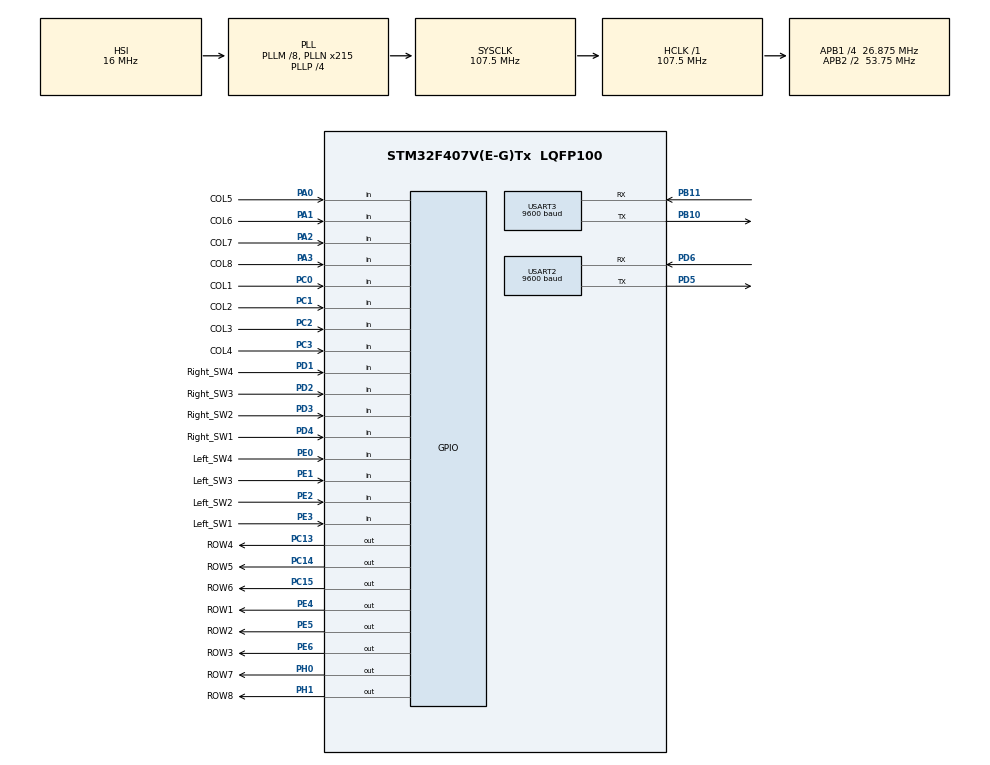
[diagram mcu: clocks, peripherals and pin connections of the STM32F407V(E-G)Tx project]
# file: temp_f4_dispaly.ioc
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Mcu.Family=STM32F4
Mcu.Name=STM32F407V(E-G)Tx
Mcu.Package=LQFP100
NVIC.PriorityGroup=NVIC_PRIORITYGROUP_0
NVIC.USART2_IRQn=true\:0\:0\:false\:false\:true\:true\:true\:true
NVIC.USART3_IRQn=true\:0\:0\:false\:false\:true\:true\:true\:true
PA0-WKUP.GPIO_Label=COL5
PA0-WKUP.GPIO_PuPd=GPIO_PULLUP
PA0-WKUP.Signal=GPIO_Input
PA1.GPIO_Label=COL6
PA1.GPIO_PuPd=GPIO_PULLUP
PA1.Signal=GPIO_Input
PA13.Mode=Serial_Wire
PA13.Signal=SYS_JTMS-SWDIO
PA14.Mode=Serial_Wire
PA14.Signal=SYS_JTCK-SWCLK
PA2.GPIO_Label=COL7
PA2.GPIO_PuPd=GPIO_PULLUP
PA2.Signal=GPIO_Input
PA3.GPIO_Label=COL8
PA3.GPIO_PuPd=GPIO_PULLUP
PA3.Signal=GPIO_Input
PB10.Mode=Asynchronous
PB10.Signal=USART3_TX
PB11.Mode=Asynchronous
PB11.Signal=USART3_RX
PC0.GPIO_Label=COL1
PC0.GPIO_PuPd=GPIO_PULLUP
PC0.Signal=GPIO_Input
PC1.GPIO_Label=COL2
PC1.GPIO_PuPd=GPIO_PULLUP
PC1.Signal=GPIO_Input
PC13-ANTI_TAMP.GPIO_Label=ROW4
PC13-ANTI_TAMP.GPIO_ModeDefaultOutputPP=GPIO_MODE_OUTPUT_OD
PC13-ANTI_TAMP.GPIO_PuPd=GPIO_NOPULL
PC13-ANTI_TAMP.PinState=GPIO_PIN_SET
PC13-ANTI_TAMP.Signal=GPIO_Output
PC14-OSC32_IN.GPIO_Label=ROW5
PC14-OSC32_IN.GPIO_ModeDefaultOutputPP=GPIO_MODE_OUTPUT_OD
PC14-OSC32_IN.GPIO_PuPd=GPIO_NOPULL
PC14-OSC32_IN.PinState=GPIO_PIN_SET
PC14-OSC32_IN.Signal=GPIO_Output
PC15-OSC32_OUT.GPIO_Label=ROW6
PC15-OSC32_OUT.GPIO_ModeDefaultOutputPP=GPIO_MODE_OUTPUT_OD
PC15-OSC32_OUT.GPIO_PuPd=GPIO_NOPULL
PC15-OSC32_OUT.PinState=GPIO_PIN_SET
PC15-OSC32_OUT.Signal=GPIO_Output
PC2.GPIO_Label=COL3
PC2.GPIO_PuPd=GPIO_PULLUP
PC2.Signal=GPIO_Input
PC3.GPIO_Label=COL4
PC3.GPIO_PuPd=GPIO_PULLUP
PC3.Signal=GPIO_Input
PD1.GPIO_Label=Right_SW4
PD1.GPIO_PuPd=GPIO_PULLUP
PD1.Signal=GPIO_Input
PD2.GPIO_Label=Right_SW3
PD2.GPIO_PuPd=GPIO_PULLUP
PD2.Signal=GPIO_Input
PD3.GPIO_Label=Right_SW2
PD3.GPIO_PuPd=GPIO_PULLUP
PD3.Signal=GPIO_Input
PD4.GPIO_Label=Right_SW1
PD4.GPIO_PuPd=GPIO_PULLUP
PD4.Signal=GPIO_Input
PD5.Mode=Asynchronous
PD5.Signal=USART2_TX
PD6.Mode=Asynchronous
PD6.Signal=USART2_RX
PE0.GPIO_Label=Left_SW4
PE0.GPIO_PuPd=GPIO_PULLUP
PE0.Signal=GPIO_Input
PE1.GPIO_Label=Left_SW3
PE1.GPIO_PuPd=GPIO_PULLUP
PE1.Signal=GPIO_Input
PE2.GPIO_Label=Left_SW2
PE2.GPIO_PuPd=GPIO_PULLUP
PE2.Signal=GPIO_Input
PE3.GPIO_Label=Left_SW1
PE3.GPIO_PuPd=GPIO_PULLUP
PE3.Signal=GPIO_Input
PE4.GPIO_Label=ROW1
PE4.GPIO_ModeDefaultOutputPP=GPIO_MODE_OUTPUT_OD
PE4.GPIO_PuPd=GPIO_NOPULL
PE4.PinState=GPIO_PIN_SET
PE4.Signal=GPIO_Output
PE5.GPIO_Label=ROW2
PE5.GPIO_ModeDefaultOutputPP=GPIO_MODE_OUTPUT_OD
PE5.GPIO_PuPd=GPIO_NOPULL
PE5.PinState=GPIO_PIN_SET
PE5.Signal=GPIO_Output
PE6.GPIO_Label=ROW3
PE6.GPIO_ModeDefaultOutputPP=GPIO_MODE_OUTPUT_OD
PE6.GPIO_PuPd=GPIO_NOPULL
PE6.PinState=GPIO_PIN_SET
PE6.Signal=GPIO_Output
PH0-OSC_IN.GPIO_Label=ROW7
PH0-OSC_IN.GPIO_ModeDefaultOutputPP=GPIO_MODE_OUTPUT_OD
PH0-OSC_IN.GPIO_PuPd=GPIO_NOPULL
PH0-OSC_IN.PinState=GPIO_PIN_SET
PH0-OSC_IN.Signal=GPIO_Output
PH1-OSC_OUT.GPIO_Label=ROW8
PH1-OSC_OUT.GPIO_ModeDefaultOutputPP=GPIO_MODE_OUTPUT_OD
PH1-OSC_OUT.GPIO_PuPd=GPIO_NOPULL
PH1-OSC_OUT.PinState=GPIO_PIN_SET
PH1-OSC_OUT.Signal=GPIO_Output
ProjectManager.HeapSize=0x200
ProjectManager.StackSize=0x400
ProjectManager.TargetToolchain=STM32CubeIDE
RCC.48MHZClocksFreq_Value=61428571.428571425
RCC.AHBFreq_Value=107500000
RCC.APB1CLKDivider=RCC_HCLK_DIV4
RCC.APB1Freq_Value=26875000
RCC.APB1TimFreq_Value=53750000
RCC.APB2CLKDivider=RCC_HCLK_DIV2
RCC.APB2Freq_Value=53750000
RCC.APB2TimFreq_Value=107500000
RCC.CortexFreq_Value=107500000
RCC.HCLKFreq_Value=107500000
RCC.HSE_VALUE=8000000
RCC.HSI_VALUE=16000000
RCC.LSE_VALUE=32768
RCC.PLLM=8
RCC.PLLN=215
RCC.PLLP=RCC_PLLP_DIV4
RCC.PLLQ=7
RCC.SYSCLKFreq_VALUE=107500000
RCC.SYSCLKSource=RCC_SYSCLKSOURCE_PLLCLK
RCC.VCOOutputFreq_Value=430000000
USART2.BaudRate=9600
USART2.VirtualMode=VM_ASYNC
USART3.BaudRate=9600
USART3.VirtualMode=VM_ASYNC
board=STM32F407G-DISC1

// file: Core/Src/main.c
/* USER CODE BEGIN Header */
/**
  ******************************************************************************
  * @file           : main.c
  * @brief          : Main program body
  ******************************************************************************
  * @attention
  *
  * Copyright (c) 2024 STMicroelectronics.
  * All rights reserved.
  *
  * This software is licensed under terms that can be found in the LICENSE file
  * in the root directory of this software component.
  * If no LICENSE file comes with this software, it is provided AS-IS.
  *
  ******************************************************************************
  */
/* USER CODE END Header */
#include "main.h"

UART_HandleTypeDef huart2;
UART_HandleTypeDef huart3;

SerialStruct BuffUART2;

//uint16_t keyRead;
NavParams NavScreenParams;
extern lcdCmdDisp_id currentScreen;
extern softKey_t softkey;

extern MkeyStatus_t MkeyStatus;
extern keyPad_t keyPad;

uint16_t key;

void SystemClock_Config(void);
static void MX_GPIO_Init(void);
static void MX_USART3_UART_Init(void);
static void MX_USART2_UART_Init(void);

/* USER CODE BEGIN 0 */

void UART_SendString(SerialStruct * BuffUART, const char *str, int NumChar) {

	uint8_t n = 0;

	BuffUART->TXbuflen = NumChar;//= strlen(str);
	while (BuffUART->TXbuflen > (MAXBUFLEN - BuffUART->LoadIndex)) ;

	while (BuffUART->TXbuflen--)
	{
		BuffUART->TXbuffer[BuffUART->LoadIndex++] = str[n++];
	}

	// Start transmission if this is first byte in buffer
	if(BuffUART->TXindex == 0)
	{
		huart2.Instance->DR = BuffUART->TXbuffer[BuffUART->TXindex++];
		__HAL_UART_ENABLE_IT(&huart2, UART_IT_TXE);
	}

    //uint16_t len = strlen(str);
    //for (uint16_t i = 0; i < len; i++) {
    //    uint16_t BuffUART.next_head = (tx_head + 1) % UART_BUFFER_SIZE;
    //    while (next_head == tx_tail); // Wait if buffer is full
    //    tx_buffer[tx_head] = str[i];
    //    tx_head = next_head;
    //}
    //__HAL_UART_ENABLE_IT(&huart1, UART_IT_TXE); // Enable TXE interrupt
}

/* USER CODE END 0 */

int main(void)
{

  /* MCU Configuration--------------------------------------------------------*/

  /* Reset of all peripherals, Initializes the Flash interface and the Systick. */
  HAL_Init();

  /* Configure the system clock */
  SystemClock_Config();

  /* Initialize all configured peripherals */
  MX_GPIO_Init();
  MX_USART3_UART_Init();
  MX_USART2_UART_Init();
  /* USER CODE BEGIN 2 */

  NavScreenParams.Active = 118.025;
  NavScreenParams.Standby = 108.475;
  NavScreenParams.page = false; // means page0
  NavScreenParams.P1 = 223.50;
  NavScreenParams.P2 = 123.45;
  NavScreenParams.P3 = 354.85;
  NavScreenParams.P6 = 534.15;
  NavScreenParams.P8 = 878.98;

  InitializeLCD();
//  Matrix_keypad_test();
  KeyS_init();

  /* USER CODE END 2 */

  /* Infinite loop */
  /* USER CODE BEGIN WHILE */
  while (1)
  {
	  switch(currentScreen)
	  {
	  case lcdDisp_home:
		  if(soft_keysTest() == L1)
		  {
			  currentScreen = lcdDisp_nav;
			  DispNAVscreen(&NavScreenParams);
		  }
		  if(soft_keysTest() == L2)
		  {
			  currentScreen = lcdDisp_adf;
			  DispADFscreen();
		  }
		  if(soft_keysTest() == L3)
		  {
			  currentScreen = lcdDisp_tacan;
			  DispTACANscreen();
		  }
		  break;

	  case lcdDisp_nav:
		  //MkeyStatus = keyPad_Scan();

		  key = NavScreenStateMachine(&NavScreenParams);
		  if (key == 0x002)	// HOME button
		  {
			  currentScreen = lcdDisp_home;
			  DispHomeScreen();
		  }
		  else if(key == 0)
		  {
			  // do nothing here
		  }
		  break;

	  case lcdDisp_adf:
		  MkeyStatus = keyPad_Scan();

		  if (keyPad.key == 0x101)	// to be checked later
		  {
			  currentScreen = lcdDisp_home;
			  DispHomeScreen();
		  }
		  else if(keyPad.key == 0)
		  {
			  // do nothing here
		  }
		  break;

	  case lcdDisp_tacan:
		  MkeyStatus = keyPad_Scan();
		  if (keyPad.key == 0x101)	// to be checked later
		  {
			  currentScreen = lcdDisp_home;
			  DispHomeScreen();
		  }
		  else if(keyPad.key == 0)
		  {
			  // do nothing here
		  }
		  break;
	  default:
		  break;
	  }
  }

}

void SystemClock_Config(void)
{
  RCC_OscInitTypeDef RCC_OscInitStruct = {0};
  RCC_ClkInitTypeDef RCC_ClkInitStruct = {0};

  /** Configure the main internal regulator output voltage
  */
  __HAL_RCC_PWR_CLK_ENABLE();
  __HAL_PWR_VOLTAGESCALING_CONFIG(PWR_REGULATOR_VOLTAGE_SCALE1);

  /** Initializes the RCC Oscillators according to the specified parameters
  * in the RCC_OscInitTypeDef structure.
  */
  RCC_OscInitStruct.OscillatorType = RCC_OSCILLATORTYPE_HSI;
  RCC_OscInitStruct.HSIState = RCC_HSI_ON;
  RCC_OscInitStruct.HSICalibrationValue = RCC_HSICALIBRATION_DEFAULT;
  RCC_OscInitStruct.PLL.PLLState = RCC_PLL_ON;
  RCC_OscInitStruct.PLL.PLLSource = RCC_PLLSOURCE_HSI;
  RCC_OscInitStruct.PLL.PLLM = 8;
  RCC_OscInitStruct.PLL.PLLN = 215;
  RCC_OscInitStruct.PLL.PLLP = RCC_PLLP_DIV4;
  RCC_OscInitStruct.PLL.PLLQ = 7;
  if (HAL_RCC_OscConfig(&RCC_OscInitStruct) != HAL_OK)
  {
    Error_Handler();
  }

  /** Initializes the CPU, AHB and APB buses clocks
  */
  RCC_ClkInitStruct.ClockType = RCC_CLOCKTYPE_HCLK|RCC_CLOCKTYPE_SYSCLK
                              |RCC_CLOCKTYPE_PCLK1|RCC_CLOCKTYPE_PCLK2;
  RCC_ClkInitStruct.SYSCLKSource = RCC_SYSCLKSOURCE_PLLCLK;
  RCC_ClkInitStruct.AHBCLKDivider = RCC_SYSCLK_DIV1;
  RCC_ClkInitStruct.APB1CLKDivider = RCC_HCLK_DIV4;
  RCC_ClkInitStruct.APB2CLKDivider = RCC_HCLK_DIV2;

  if (HAL_RCC_ClockConfig(&RCC_ClkInitStruct, FLASH_LATENCY_3) != HAL_OK)
  {
    Error_Handler();
  }
}

static void MX_USART2_UART_Init(void)
{

  huart2.Instance = USART2;
  huart2.Init.BaudRate = 9600;
  huart2.Init.WordLength = UART_WORDLENGTH_8B;
  huart2.Init.StopBits = UART_STOPBITS_1;
  huart2.Init.Parity = UART_PARITY_NONE;
  huart2.Init.Mode = UART_MODE_TX_RX;
  huart2.Init.HwFlowCtl = UART_HWCONTROL_NONE;
  huart2.Init.OverSampling = UART_OVERSAMPLING_16;
  if (HAL_UART_Init(&huart2) != HAL_OK)
  {
    Error_Handler();
  }

  __HAL_UART_ENABLE_IT(&huart2, UART_IT_RXNE);
  /* USER CODE BEGIN USART2_Init 2 */
  HAL_NVIC_SetPriority(USART2_IRQn, 0, 0);
  HAL_NVIC_EnableIRQ(USART2_IRQn);
  /* USER CODE END USART2_Init 2 */

}

static void MX_USART3_UART_Init(void)
{

  huart3.Instance = USART3;
  huart3.Init.BaudRate = 9600;
  huart3.Init.WordLength = UART_WORDLENGTH_8B;
  huart3.Init.StopBits = UART_STOPBITS_1;
  huart3.Init.Parity = UART_PARITY_NONE;
  huart3.Init.Mode = UART_MODE_TX_RX;
  huart3.Init.HwFlowCtl = UART_HWCONTROL_NONE;
  huart3.Init.OverSampling = UART_OVERSAMPLING_16;
  if (HAL_UART_Init(&huart3) != HAL_OK)
  {
    Error_Handler();
  }

}

static void MX_GPIO_Init(void)
{
  GPIO_InitTypeDef GPIO_InitStruct = {0};

  /* GPIO Ports Clock Enable */
  __HAL_RCC_GPIOE_CLK_ENABLE();
  __HAL_RCC_GPIOC_CLK_ENABLE();
  __HAL_RCC_GPIOH_CLK_ENABLE();
  __HAL_RCC_GPIOA_CLK_ENABLE();
  __HAL_RCC_GPIOB_CLK_ENABLE();
  __HAL_RCC_GPIOD_CLK_ENABLE();

  /*Configure GPIO pin Output Level */
  HAL_GPIO_WritePin(GPIOE, ROW1_Pin|ROW2_Pin|ROW3_Pin, GPIO_PIN_SET);

  /*Configure GPIO pin Output Level */
  HAL_GPIO_WritePin(GPIOC, ROW4_Pin|ROW5_Pin|ROW6_Pin, GPIO_PIN_SET);

  /*Configure GPIO pin Output Level */
  HAL_GPIO_WritePin(GPIOH, ROW7_Pin|ROW8_Pin, GPIO_PIN_SET);

  /*Configure GPIO pins : Left_SW2_Pin Left_SW1_Pin Left_SW4_Pin Left_SW3_Pin */
  GPIO_InitStruct.Pin = Left_SW2_Pin|Left_SW1_Pin|Left_SW4_Pin|Left_SW3_Pin;
  GPIO_InitStruct.Mode = GPIO_MODE_INPUT;
  GPIO_InitStruct.Pull = GPIO_PULLUP;
  HAL_GPIO_Init(GPIOE, &GPIO_InitStruct);

  /*Configure GPIO pins : ROW1_Pin ROW2_Pin ROW3_Pin */
  GPIO_InitStruct.Pin = ROW1_Pin|ROW2_Pin|ROW3_Pin;
  GPIO_InitStruct.Mode = GPIO_MODE_OUTPUT_OD;
  GPIO_InitStruct.Pull = GPIO_NOPULL;
  GPIO_InitStruct.Speed = GPIO_SPEED_FREQ_LOW;
  HAL_GPIO_Init(GPIOE, &GPIO_InitStruct);

  /*Configure GPIO pins : ROW4_Pin ROW5_Pin ROW6_Pin */
  GPIO_InitStruct.Pin = ROW4_Pin|ROW5_Pin|ROW6_Pin;
  GPIO_InitStruct.Mode = GPIO_MODE_OUTPUT_OD;
  GPIO_InitStruct.Pull = GPIO_NOPULL;
  GPIO_InitStruct.Speed = GPIO_SPEED_FREQ_LOW;
  HAL_GPIO_Init(GPIOC, &GPIO_InitStruct);

  /*Configure GPIO pins : ROW7_Pin ROW8_Pin */
  GPIO_InitStruct.Pin = ROW7_Pin|ROW8_Pin;
  GPIO_InitStruct.Mode = GPIO_MODE_OUTPUT_OD;
  GPIO_InitStruct.Pull = GPIO_NOPULL;
  GPIO_InitStruct.Speed = GPIO_SPEED_FREQ_LOW;
  HAL_GPIO_Init(GPIOH, &GPIO_InitStruct);

  /*Configure GPIO pins : COL1_Pin COL2_Pin COL3_Pin COL4_Pin */
  GPIO_InitStruct.Pin = COL1_Pin|COL2_Pin|COL3_Pin|COL4_Pin;
  GPIO_InitStruct.Mode = GPIO_MODE_INPUT;
  GPIO_InitStruct.Pull = GPIO_PULLUP;
  HAL_GPIO_Init(GPIOC, &GPIO_InitStruct);

  /*Configure GPIO pins : COL5_Pin COL6_Pin COL7_Pin COL8_Pin */
  GPIO_InitStruct.Pin = COL5_Pin|COL6_Pin|COL7_Pin|COL8_Pin;
  GPIO_InitStruct.Mode = GPIO_MODE_INPUT;
  GPIO_InitStruct.Pull = GPIO_PULLUP;
  HAL_GPIO_Init(GPIOA, &GPIO_InitStruct);

  /*Configure GPIO pins : Right_SW4_Pin Right_SW3_Pin Right_SW2_Pin Right_SW1_Pin */
  GPIO_InitStruct.Pin = Right_SW4_Pin|Right_SW3_Pin|Right_SW2_Pin|Right_SW1_Pin;
  GPIO_InitStruct.Mode = GPIO_MODE_INPUT;
  GPIO_InitStruct.Pull = GPIO_PULLUP;
  HAL_GPIO_Init(GPIOD, &GPIO_InitStruct);

}

void Error_Handler(void)
{
  __disable_irq();
  while (1)
  {
  }
}
